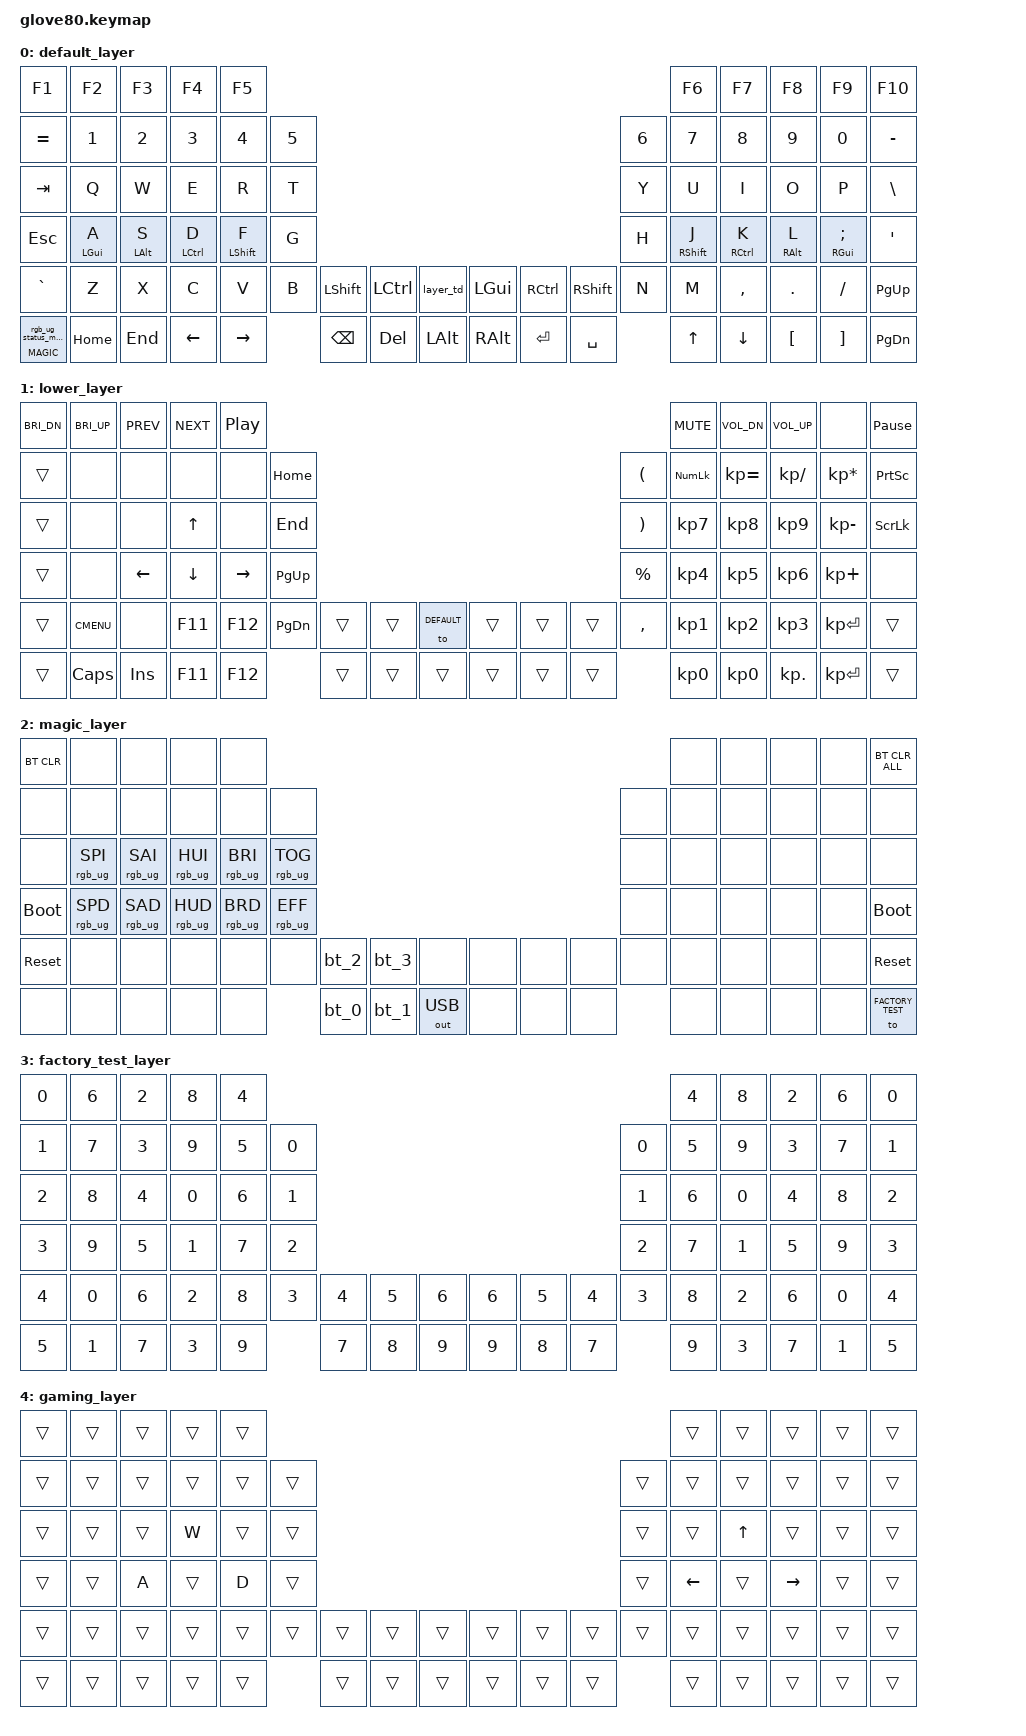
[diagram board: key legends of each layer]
/*
 * Copyright (c) 2020 The ZMK Contributors
 *
 * SPDX-License-Identifier: MIT
 */

#include <behaviors.dtsi>
#include <dt-bindings/zmk/bt.h>
#include <dt-bindings/zmk/keys.h>
#include <dt-bindings/zmk/outputs.h>
#include <dt-bindings/zmk/rgb.h>

#define HYPER LC(LS(LG(LALT)))

// layers

#define DEFAULT 0
#define LOWER 1
#define MAGIC 2
#define FACTORY_TEST 3

/ {
    behaviors {
        // For the "layer" key, it'd nice to be able to use it as either a shift or a toggle.
        // Configure it as a tap dance, so the first tap (or hold) is a &mo and the second tap is a &to

        layer_td: tap_dance_0 {
            compatible = "zmk,behavior-tap-dance";
            label = "LAYER_TAP_DANCE";
            #binding-cells = <0>;
            tapping-term-ms = <200>;
            bindings = <&mo LOWER>, <&to LOWER>;
        };

        magic: magic_hold_tap {
            compatible = "zmk,behavior-hold-tap";
            label = "MAGIC_HOLD_TAP";
            #binding-cells = <2>;
            flavor = "tap-preferred";
            tapping-term-ms = <200>;
            bindings = <&mo>, <&rgb_ug_status_macro>;
        };

        hm: hm {
            compatible = "zmk,behavior-hold-tap";
            label = "HM";
            bindings = <&kp>, <&kp>;

            #binding-cells = <2>;
            tapping-term-ms = <200>;
            quick-tap-ms = <200>;
            require-prior-idle-ms = <200>;
            flavor = "balanced";
        };
    };

    macros {
        rgb_ug_status_macro: rgb_ug_status_macro_0 {
            label = "RGB_UG_STATUS";
            compatible = "zmk,behavior-macro";
            #binding-cells = <0>;
            bindings = <&rgb_ug RGB_STATUS>;
        };

        bt_0: bt_profile_macro_0 {
            label = "BT_0";
            compatible = "zmk,behavior-macro";
            #binding-cells = <0>;
            bindings = <&out OUT_BLE &bt BT_SEL 0>;
        };

        bt_1: bt_profile_macro_1 {
            label = "BT_1";
            compatible = "zmk,behavior-macro";
            #binding-cells = <0>;
            bindings = <&out OUT_BLE &bt BT_SEL 1>;
        };

        bt_2: bt_profile_macro_2 {
            label = "BT_2";
            compatible = "zmk,behavior-macro";
            #binding-cells = <0>;
            bindings = <&out OUT_BLE &bt BT_SEL 2>;
        };

        bt_3: bt_profile_macro_3 {
            label = "BT_3";
            compatible = "zmk,behavior-macro";
            #binding-cells = <0>;
            bindings = <&out OUT_BLE &bt BT_SEL 3>;
        };
    };

    combos {
        compatible = "zmk,combos";

        combo_underbar {
            bindings = <&kp UNDERSCORE>;
            key-positions = <60 61>;
        };

        activate_gaming_layer {
            bindings = <&tog 4>;
            key-positions = <38 37 36 35 41 42 43 44>;
        };

        context_menu_combo {
            bindings = <&kp SPACE>;
            key-positions = <49 50>;
        };

        enter_combo {
            bindings = <&kp ENTER>;
            key-positions = <59 60>;
        };

        backspace_combo {
            bindings = <&kp BACKSPACE>;
            key-positions = <30 31>;
        };

        delete_combo {
            bindings = <&kp DELETE>;
            key-positions = <25 24>;
        };

        space_combo {
            bindings = <&kp K_CONTEXT_MENU>;
            key-positions = <49 48>;
        };

        F11_combo {
            bindings = <&kp F11>;
            key-positions = <7 6>;
        };

        F12_combo {
            bindings = <&kp F12>;
            key-positions = <8 9>;
        };
    };

    keymap {
        compatible = "zmk,keymap";

        default_layer {
            // ---------------------------------------------------------------------------------------------------------------------------------
            // |  F1   |  F2 |  F3 |  F4  |  F5  |                                                               |  F6   |  F7   |  F8  |   F9  |  F10 |
            // |  =    |  1  |  2  |  3   |  4   |  5   |                                                 |  6   |   7   |   8   |  9   |   0   |   -  |
            // |  TAB  |  Q  |  W  |  E   |  R   |  T   |                                                 |  Y   |   U   |   I   |  O   |   P   |   \  |
            // |  ESC  |  A  |  S  |  D   |  F   |  G   |                                                 |  H   |   J   |   K   |  L   |   ;   |   '  |
            // |   `   |  Z  |  X  |  C   |  V   |  B   | LSHFT | LCTRL | LOWER | | LGUI  | RCTRL | RSHFT |  N   |   M   |   ,   |  .   |   /   | PGUP |
            // | MAGIC | HOME| END | LEFT | RIGHT|      | BSPC  | DEL   | LALT  | | RALT  | RET   | SPACE |      |  UP   | DOWN  |  [   |   ]   | PGDN |

            bindings = <
&kp F1          &kp F2          &kp F3          &kp F4              &kp F5                                                                                             &kp F6             &kp F7               &kp F8           &kp F9                   &kp F10
&kp EQUAL       &kp N1          &kp N2          &kp N3              &kp N4            &kp N5                                                                   &kp N6  &kp N7             &kp N8               &kp N9           &kp N0                   &kp MINUS
&kp TAB         &kp Q           &kp W           &kp E               &kp R             &kp T                                                                    &kp Y   &kp U              &kp I                &kp O            &kp P                    &kp BSLH
&kp ESC         &hm LEFT_GUI A  &hm LEFT_ALT S  &hm LEFT_CONTROL D  &hm LEFT_SHIFT F  &kp G                                                                    &kp H   &hm RIGHT_SHIFT J  &hm RIGHT_CONTROL K  &hm RIGHT_ALT L  &hm RIGHT_GUI SEMICOLON  &kp SQT
&kp GRAVE       &kp Z           &kp X           &kp C               &kp V             &kp B   &kp LSHFT  &kp LCTRL  &layer_td  &kp LGUI  &kp RCTRL  &kp RSHFT  &kp N   &kp M              &kp COMMA            &kp DOT          &kp FSLH                 &kp PG_UP
&magic MAGIC 0  &kp HOME        &kp END         &kp LEFT            &kp RIGHT                 &kp BSPC   &kp DEL    &kp LALT   &kp RALT  &kp RET    &kp SPACE          &kp UP             &kp DOWN             &kp LBKT         &kp RBKT                 &kp PG_DN
            >;
        };

        lower_layer {
            bindings = <
&kp C_BRI_DN  &kp C_BRI_UP  &kp C_PREV  &kp C_NEXT  &kp C_PP                                                                              &kp C_MUTE  &kp C_VOL_DN  &kp C_VOL_UP   &none            &kp PAUSE_BREAK
&trans        &none         &none       &none       &none      &kp HOME                                                        &kp LPAR   &kp KP_NUM  &kp KP_EQUAL  &kp KP_DIVIDE  &kp KP_MULTIPLY  &kp PSCRN
&trans        &none         &none       &kp UP      &none      &kp END                                                         &kp RPAR   &kp KP_N7   &kp KP_N8     &kp KP_N9      &kp KP_MINUS     &kp SLCK
&trans        &none         &kp LEFT    &kp DOWN    &kp RIGHT  &kp PG_UP                                                       &kp PRCNT  &kp KP_N4   &kp KP_N5     &kp KP_N6      &kp KP_PLUS      &none
&trans        &kp K_CMENU   &none       &kp F11     &kp F12    &kp PG_DN  &trans  &trans  &to DEFAULT  &trans  &trans  &trans  &kp COMMA  &kp KP_N1   &kp KP_N2     &kp KP_N3      &kp KP_ENTER     &trans
&trans        &kp CAPS      &kp INS     &kp F11     &kp F12               &trans  &trans  &trans       &trans  &trans  &trans             &kp KP_N0   &kp KP_N0     &kp KP_DOT     &kp KP_ENTER     &trans
            >;
        };

        magic_layer {
            bindings = <
&bt BT_CLR   &none            &none            &none            &none                                                                                     &none  &none  &none  &none  &bt BT_CLR_ALL
&none        &none            &none            &none            &none            &none                                                             &none  &none  &none  &none  &none  &none
&none        &rgb_ug RGB_SPI  &rgb_ug RGB_SAI  &rgb_ug RGB_HUI  &rgb_ug RGB_BRI  &rgb_ug RGB_TOG                                                   &none  &none  &none  &none  &none  &none
&bootloader  &rgb_ug RGB_SPD  &rgb_ug RGB_SAD  &rgb_ug RGB_HUD  &rgb_ug RGB_BRD  &rgb_ug RGB_EFF                                                   &none  &none  &none  &none  &none  &bootloader
&sys_reset   &none            &none            &none            &none            &none            &bt_2  &bt_3  &none         &none  &none  &none  &none  &none  &none  &none  &none  &sys_reset
&none        &none            &none            &none            &none                             &bt_0  &bt_1  &out OUT_USB  &none  &none  &none         &none  &none  &none  &none  &to FACTORY_TEST
            >;
        };

        factory_test_layer {
            bindings = <
&kp N0  &kp N6  &kp N2  &kp N8  &kp N4                                                                  &kp N4  &kp N8  &kp N2  &kp N6  &kp N0
&kp N1  &kp N7  &kp N3  &kp N9  &kp N5  &kp N0                                                  &kp N0  &kp N5  &kp N9  &kp N3  &kp N7  &kp N1
&kp N2  &kp N8  &kp N4  &kp N0  &kp N6  &kp N1                                                  &kp N1  &kp N6  &kp N0  &kp N4  &kp N8  &kp N2
&kp N3  &kp N9  &kp N5  &kp N1  &kp N7  &kp N2                                                  &kp N2  &kp N7  &kp N1  &kp N5  &kp N9  &kp N3
&kp N4  &kp N0  &kp N6  &kp N2  &kp N8  &kp N3  &kp N4  &kp N5  &kp N6  &kp N6  &kp N5  &kp N4  &kp N3  &kp N8  &kp N2  &kp N6  &kp N0  &kp N4
&kp N5  &kp N1  &kp N7  &kp N3  &kp N9          &kp N7  &kp N8  &kp N9  &kp N9  &kp N8  &kp N7          &kp N9  &kp N3  &kp N7  &kp N1  &kp N5
            >;
        };

        gaming_layer {
            bindings = <
&trans  &trans  &trans  &trans  &trans                                                                  &trans    &trans  &trans     &trans  &trans
&trans  &trans  &trans  &trans  &trans  &trans                                                  &trans  &trans    &trans  &trans     &trans  &trans
&trans  &trans  &trans  &kp W   &trans  &trans                                                  &trans  &trans    &kp UP  &trans     &trans  &trans
&trans  &trans  &kp A   &trans  &kp D   &trans                                                  &trans  &kp LEFT  &trans  &kp RIGHT  &trans  &trans
&trans  &trans  &trans  &trans  &trans  &trans  &trans  &trans  &trans  &trans  &trans  &trans  &trans  &trans    &trans  &trans     &trans  &trans
&trans  &trans  &trans  &trans  &trans          &trans  &trans  &trans  &trans  &trans  &trans          &trans    &trans  &trans     &trans  &trans
            >;
        };
    };
};
